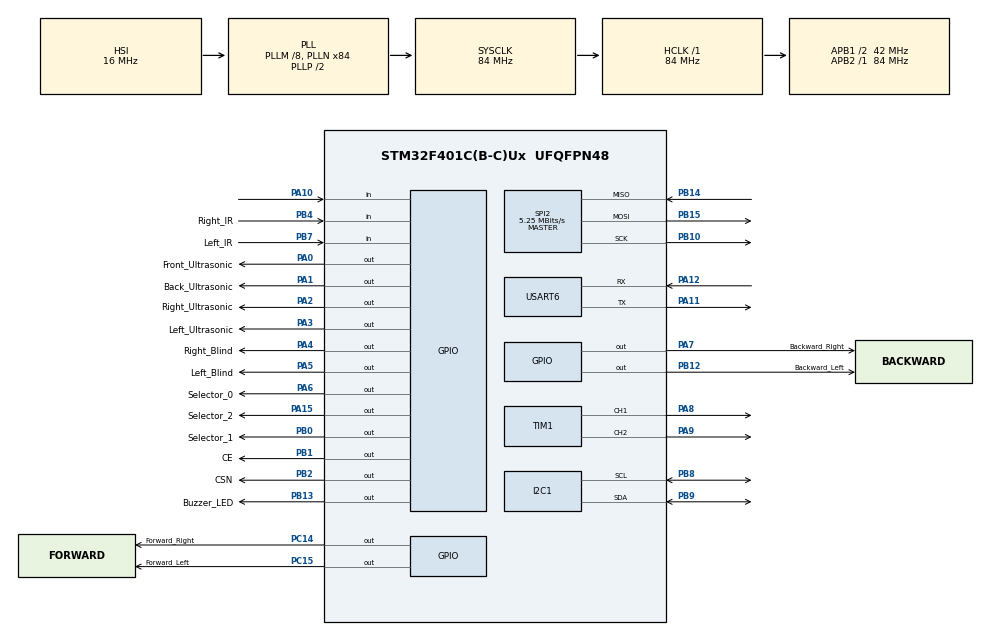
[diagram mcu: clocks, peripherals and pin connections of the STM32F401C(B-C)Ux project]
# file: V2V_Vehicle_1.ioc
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Mcu.Family=STM32F4
Mcu.Name=STM32F401C(B-C)Ux
Mcu.Package=UFQFPN48
NVIC.PriorityGroup=NVIC_PRIORITYGROUP_4
PA0-WKUP.GPIO_Label=Front_Ultrasonic
PA0-WKUP.Signal=GPIO_Output
PA1.GPIO_Label=Back_Ultrasonic
PA1.Signal=GPIO_Output
PA10.Signal=GPIO_Input
PA11.Mode=Asynchronous
PA11.Signal=USART6_TX
PA12.Mode=Asynchronous
PA12.Signal=USART6_RX
PA13.Mode=Serial_Wire
PA13.Signal=SYS_JTMS-SWDIO
PA14.Mode=Serial_Wire
PA14.Signal=SYS_JTCK-SWCLK
PA15.GPIO_Label=Selector_2
PA15.Signal=GPIO_Output
PA2.GPIO_Label=Right_Ultrasonic
PA2.Signal=GPIO_Output
PA3.GPIO_Label=Left_Ultrasonic
PA3.Signal=GPIO_Output
PA4.GPIO_Label=Right_Blind
PA4.Signal=GPIO_Output
PA5.GPIO_Label=Left_Blind
PA5.Signal=GPIO_Output
PA6.GPIO_Label=Selector_0
PA6.Signal=GPIO_Output
PA7.GPIO_Label=Backward_Right
PA7.Signal=GPIO_Output
PA8.Signal=S_TIM1_CH1
PA9.Signal=S_TIM1_CH2
PB0.GPIO_Label=Selector_1
PB0.Signal=GPIO_Output
PB1.GPIO_Label=CE
PB1.Signal=GPIO_Output
PB10.Mode=Full_Duplex_Master
PB10.Signal=SPI2_SCK
PB12.GPIO_Label=Backward_Left
PB12.Signal=GPIO_Output
PB13.GPIO_Label=Buzzer_LED
PB13.Signal=GPIO_Output
PB14.Mode=Full_Duplex_Master
PB14.Signal=SPI2_MISO
PB15.Mode=Full_Duplex_Master
PB15.Signal=SPI2_MOSI
PB2.GPIO_Label=CSN
PB2.Signal=GPIO_Output
PB4.GPIO_Label=Right_IR
PB4.Signal=GPIO_Input
PB7.GPIO_Label=Left_IR
PB7.Signal=GPIO_Input
PB8.Mode=I2C
PB8.Signal=I2C1_SCL
PB9.Mode=I2C
PB9.Signal=I2C1_SDA
PC14-OSC32_IN.GPIO_Label=Forward_Right
PC14-OSC32_IN.Signal=GPIO_Output
PC15-OSC32_OUT.GPIO_Label=Forward_Left
PC15-OSC32_OUT.Signal=GPIO_Output
ProjectManager.HeapSize=0x200
ProjectManager.StackSize=0x400
ProjectManager.TargetToolchain=STM32CubeIDE
RCC.48MHZClocksFreq_Value=42000000
RCC.AHBFreq_Value=84000000
RCC.APB1CLKDivider=RCC_HCLK_DIV2
RCC.APB1Freq_Value=42000000
RCC.APB1TimFreq_Value=84000000
RCC.APB2Freq_Value=84000000
RCC.APB2TimFreq_Value=84000000
RCC.CortexFreq_Value=84000000
RCC.HCLKFreq_Value=84000000
RCC.HSE_VALUE=25000000
RCC.HSI_VALUE=16000000
RCC.LSE_VALUE=32768
RCC.PLLM=8
RCC.PLLN=84
RCC.SYSCLKFreq_VALUE=84000000
RCC.SYSCLKSource=RCC_SYSCLKSOURCE_PLLCLK
RCC.VCOOutputFreq_Value=168000000
SH.S_TIM1_CH1.0=TIM1_CH1,PWM Generation1 CH1
SH.S_TIM1_CH2.0=TIM1_CH2,PWM Generation2 CH2
SPI2.BaudRatePrescaler=SPI_BAUDRATEPRESCALER_8
SPI2.CalculateBaudRate=5.25 MBits/s
SPI2.Direction=SPI_DIRECTION_2LINES
SPI2.Mode=SPI_MODE_MASTER
SPI2.VirtualType=VM_MASTER
TIM1.Channel-PWM\ Generation1\ CH1=TIM_CHANNEL_1
TIM1.Channel-PWM\ Generation2\ CH2=TIM_CHANNEL_2
TIM3.Prescaler=83
USART6.VirtualMode=VM_ASYNC
VP_TIM1_VS_ClockSourceINT.Mode=Internal
VP_TIM3_VS_ClockSourceINT.Mode=Internal
board=custom

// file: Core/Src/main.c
/* USER CODE BEGIN Header */
/**
 ******************************************************************************
 * @file           : main.c
 * @brief          : Main program body
 ******************************************************************************
 * @attention
 *
 * Copyright (c) 2023 STMicroelectronics.
 * All rights reserved.
 *
 * This software is licensed under terms that can be found in the LICENSE file
 * in the root directory of this software component.
 * If no LICENSE file comes with this software, it is provided AS-IS.
 *
 ******************************************************************************
 */
/* USER CODE END Header */
#include "main.h"

/* USER CODE BEGIN Includes */
#include <stdbool.h>
#include "Lane.h"
#include "Motion.h"
#include "Ultrasonic.h"
#include "Parking.h"
#include "NRF24L01.h"
/* USER CODE END Includes */

/* USER CODE BEGIN PTD */
uint8_t Front_Distance = 0;
uint8_t Back_Distance = 0;
uint8_t Right_Distance = 0;
uint8_t Left_Distance = 0;
uint8_t Right_Blind_Distance = 0;
uint8_t Left_Blind_Distance = 0;

bool parking_triggered= false;

int8_t	R1;
int8_t	L1;

uint8_t RxAddess[] = {0x00,0xDD,0xCC,0xBB,0xAA};
uint8_t TxAddess[] = {0xEE,0xDD,0xCC,0xBB,0xAA};
uint8_t Accident[] = "Accident" ;
uint8_t Blind[] = "Blind" ;

uint8_t RxData[32];

volatile int object1detected = 0;
/* USER CODE END PTD */

I2C_HandleTypeDef hi2c1;

SPI_HandleTypeDef hspi2;

TIM_HandleTypeDef htim1;
TIM_HandleTypeDef htim3;

UART_HandleTypeDef huart6;

void SystemClock_Config(void);
static void MX_GPIO_Init(void);
static void MX_TIM1_Init(void);
static void MX_TIM3_Init(void);
static void MX_I2C1_Init(void);
static void MX_SPI2_Init(void);
static void MX_USART6_UART_Init(void);

/* USER CODE BEGIN 0 */
volatile int8_t flag =0;
int8_t flag2 =0;
int8_t front_flag = 0;
int8_t COUNTER =0;
/* USER CODE END 0 */

int main(void)
{

	/* MCU Configuration--------------------------------------------------------*/

	/* Reset of all peripherals, Initializes the Flash interface and the Systick. */
	HAL_Init();

	/* Configure the system clock */
	SystemClock_Config();

	/* Initialize all configured peripherals */
	MX_GPIO_Init();
	MX_TIM1_Init();
	MX_TIM3_Init();
	MX_I2C1_Init();
	MX_SPI2_Init();
	MX_USART6_UART_Init();
	/* USER CODE BEGIN 2 */
	HAL_TIM_PWM_Start(&htim1, TIM_CHANNEL_1);
	HAL_TIM_PWM_Start(&htim1, TIM_CHANNEL_2);
	HAL_TIM_Base_Start(&htim3);

	HAL_GPIO_WritePin(Front_Ultrasonic_GPIO_Port, Front_Ultrasonic_Pin, GPIO_PIN_RESET);	//pull the trig pin low
	HAL_GPIO_WritePin(Back_Ultrasonic_GPIO_Port, Back_Ultrasonic_Pin, GPIO_PIN_RESET);	//pull the trig pin low
	HAL_GPIO_WritePin(Right_Ultrasonic_GPIO_Port, Right_Ultrasonic_Pin, GPIO_PIN_RESET);	//pull the trig pin low
	HAL_GPIO_WritePin(Left_Ultrasonic_GPIO_Port, Left_Ultrasonic_Pin, GPIO_PIN_RESET);	//pull the trig pin low
	HAL_GPIO_WritePin(Right_Blind_GPIO_Port, Right_Blind_Pin, GPIO_PIN_RESET);	//pull the trig pin low
	HAL_GPIO_WritePin(Right_Blind_GPIO_Port, Left_Blind_Pin, GPIO_PIN_RESET);	//pull the trig pin low

	NRF24_Init();
	NRF24_TxMode(TxAddess, 10);

	/* USER CODE END 2 */

	/* Infinite loop */
	/* USER CODE BEGIN WHILE */
	while (1)
	{
		Set_Ultrasonic_View(Front);
		Front_Sensor_Read(&Front_Distance);
		if(Front_Distance > 0)
		{
			front_flag = 1;
		}
		else
		{
			front_flag = 0;
		}

		Set_Ultrasonic_View(Back);
		Back_Sensor_Read(&Back_Distance);

		Set_Ultrasonic_View(Right);
		Right_Sensor_Read(&Right_Distance);

		Set_Ultrasonic_View(Left);
		Left_Sensor_Read(&Left_Distance);

		Set_Ultrasonic_View(Right_Blind);
		Right_Blind_Sensor_Read(&Right_Blind_Distance);

		Set_Ultrasonic_View(Left_Blind);
		Left_Blind_Sensor_Read(&Left_Blind_Distance);

		if(Front_Distance <= 20)
		{
			//ACCIDENT();
			Blocked_Area();
		}
		else if(Right_Blind_Distance <= 40)
		{
			Right_BLIND_MODE();
		}
		else if(Left_Blind_Distance <= 40)
		{
			Left_BLIND_MODE();
		}
		else if(Right_Distance <= 30)
		{
			Parking_Right();
			object1detected = 1;
		}
		else if(Left_Distance < 20)
		{
			Parking_Left();
			object1detected = 1;
		}
		else
		{
			R1 = HAL_GPIO_ReadPin(Right_IR_GPIO_Port, Right_IR_Pin); //Right Sensor
			L1 = HAL_GPIO_ReadPin(Left_IR_GPIO_Port, Left_IR_Pin); //Left Sensor
			Lane_Detection();
		}
		/* USER CODE END WHILE */

	}
}

void SystemClock_Config(void)
{
	RCC_OscInitTypeDef RCC_OscInitStruct = {0};
	RCC_ClkInitTypeDef RCC_ClkInitStruct = {0};

	/** Configure the main internal regulator output voltage
	 */
	__HAL_RCC_PWR_CLK_ENABLE();
	__HAL_PWR_VOLTAGESCALING_CONFIG(PWR_REGULATOR_VOLTAGE_SCALE2);

	/** Initializes the RCC Oscillators according to the specified parameters
	 * in the RCC_OscInitTypeDef structure.
	 */
	RCC_OscInitStruct.OscillatorType = RCC_OSCILLATORTYPE_HSI;
	RCC_OscInitStruct.HSIState = RCC_HSI_ON;
	RCC_OscInitStruct.HSICalibrationValue = RCC_HSICALIBRATION_DEFAULT;
	RCC_OscInitStruct.PLL.PLLState = RCC_PLL_ON;
	RCC_OscInitStruct.PLL.PLLSource = RCC_PLLSOURCE_HSI;
	RCC_OscInitStruct.PLL.PLLM = 8;
	RCC_OscInitStruct.PLL.PLLN = 84;
	RCC_OscInitStruct.PLL.PLLP = RCC_PLLP_DIV2;
	RCC_OscInitStruct.PLL.PLLQ = 4;
	if (HAL_RCC_OscConfig(&RCC_OscInitStruct) != HAL_OK)
	{
		Error_Handler();
	}

	/** Initializes the CPU, AHB and APB buses clocks
	 */
	RCC_ClkInitStruct.ClockType = RCC_CLOCKTYPE_HCLK|RCC_CLOCKTYPE_SYSCLK
			|RCC_CLOCKTYPE_PCLK1|RCC_CLOCKTYPE_PCLK2;
	RCC_ClkInitStruct.SYSCLKSource = RCC_SYSCLKSOURCE_PLLCLK;
	RCC_ClkInitStruct.AHBCLKDivider = RCC_SYSCLK_DIV1;
	RCC_ClkInitStruct.APB1CLKDivider = RCC_HCLK_DIV2;
	RCC_ClkInitStruct.APB2CLKDivider = RCC_HCLK_DIV1;

	if (HAL_RCC_ClockConfig(&RCC_ClkInitStruct, FLASH_LATENCY_2) != HAL_OK)
	{
		Error_Handler();
	}
}

static void MX_I2C1_Init(void)
{

	hi2c1.Instance = I2C1;
	hi2c1.Init.ClockSpeed = 100000;
	hi2c1.Init.DutyCycle = I2C_DUTYCYCLE_2;
	hi2c1.Init.OwnAddress1 = 0;
	hi2c1.Init.AddressingMode = I2C_ADDRESSINGMODE_7BIT;
	hi2c1.Init.DualAddressMode = I2C_DUALADDRESS_DISABLE;
	hi2c1.Init.OwnAddress2 = 0;
	hi2c1.Init.GeneralCallMode = I2C_GENERALCALL_DISABLE;
	hi2c1.Init.NoStretchMode = I2C_NOSTRETCH_DISABLE;
	if (HAL_I2C_Init(&hi2c1) != HAL_OK)
	{
		Error_Handler();
	}

}

static void MX_SPI2_Init(void)
{

	/* SPI2 parameter configuration*/
	hspi2.Instance = SPI2;
	hspi2.Init.Mode = SPI_MODE_MASTER;
	hspi2.Init.Direction = SPI_DIRECTION_2LINES;
	hspi2.Init.DataSize = SPI_DATASIZE_8BIT;
	hspi2.Init.CLKPolarity = SPI_POLARITY_LOW;
	hspi2.Init.CLKPhase = SPI_PHASE_1EDGE;
	hspi2.Init.NSS = SPI_NSS_SOFT;
	hspi2.Init.BaudRatePrescaler = SPI_BAUDRATEPRESCALER_8;
	hspi2.Init.FirstBit = SPI_FIRSTBIT_MSB;
	hspi2.Init.TIMode = SPI_TIMODE_DISABLE;
	hspi2.Init.CRCCalculation = SPI_CRCCALCULATION_DISABLE;
	hspi2.Init.CRCPolynomial = 10;
	if (HAL_SPI_Init(&hspi2) != HAL_OK)
	{
		Error_Handler();
	}

}

static void MX_TIM1_Init(void)
{

	TIM_ClockConfigTypeDef sClockSourceConfig = {0};
	TIM_MasterConfigTypeDef sMasterConfig = {0};
	TIM_OC_InitTypeDef sConfigOC = {0};
	TIM_BreakDeadTimeConfigTypeDef sBreakDeadTimeConfig = {0};

	htim1.Instance = TIM1;
	htim1.Init.Prescaler = 0;
	htim1.Init.CounterMode = TIM_COUNTERMODE_UP;
	htim1.Init.Period = 65535;
	htim1.Init.ClockDivision = TIM_CLOCKDIVISION_DIV1;
	htim1.Init.RepetitionCounter = 0;
	htim1.Init.AutoReloadPreload = TIM_AUTORELOAD_PRELOAD_DISABLE;
	if (HAL_TIM_Base_Init(&htim1) != HAL_OK)
	{
		Error_Handler();
	}
	sClockSourceConfig.ClockSource = TIM_CLOCKSOURCE_INTERNAL;
	if (HAL_TIM_ConfigClockSource(&htim1, &sClockSourceConfig) != HAL_OK)
	{
		Error_Handler();
	}
	if (HAL_TIM_PWM_Init(&htim1) != HAL_OK)
	{
		Error_Handler();
	}
	sMasterConfig.MasterOutputTrigger = TIM_TRGO_RESET;
	sMasterConfig.MasterSlaveMode = TIM_MASTERSLAVEMODE_DISABLE;
	if (HAL_TIMEx_MasterConfigSynchronization(&htim1, &sMasterConfig) != HAL_OK)
	{
		Error_Handler();
	}
	sConfigOC.OCMode = TIM_OCMODE_PWM1;
	sConfigOC.Pulse = 0;
	sConfigOC.OCPolarity = TIM_OCPOLARITY_HIGH;
	sConfigOC.OCNPolarity = TIM_OCNPOLARITY_HIGH;
	sConfigOC.OCFastMode = TIM_OCFAST_DISABLE;
	sConfigOC.OCIdleState = TIM_OCIDLESTATE_RESET;
	sConfigOC.OCNIdleState = TIM_OCNIDLESTATE_RESET;
	if (HAL_TIM_PWM_ConfigChannel(&htim1, &sConfigOC, TIM_CHANNEL_1) != HAL_OK)
	{
		Error_Handler();
	}
	if (HAL_TIM_PWM_ConfigChannel(&htim1, &sConfigOC, TIM_CHANNEL_2) != HAL_OK)
	{
		Error_Handler();
	}
	sBreakDeadTimeConfig.OffStateRunMode = TIM_OSSR_DISABLE;
	sBreakDeadTimeConfig.OffStateIDLEMode = TIM_OSSI_DISABLE;
	sBreakDeadTimeConfig.LockLevel = TIM_LOCKLEVEL_OFF;
	sBreakDeadTimeConfig.DeadTime = 0;
	sBreakDeadTimeConfig.BreakState = TIM_BREAK_DISABLE;
	sBreakDeadTimeConfig.BreakPolarity = TIM_BREAKPOLARITY_HIGH;
	sBreakDeadTimeConfig.AutomaticOutput = TIM_AUTOMATICOUTPUT_DISABLE;
	if (HAL_TIMEx_ConfigBreakDeadTime(&htim1, &sBreakDeadTimeConfig) != HAL_OK)
	{
		Error_Handler();
	}
	HAL_TIM_MspPostInit(&htim1);

}

static void MX_TIM3_Init(void)
{

	TIM_ClockConfigTypeDef sClockSourceConfig = {0};
	TIM_MasterConfigTypeDef sMasterConfig = {0};

	htim3.Instance = TIM3;
	htim3.Init.Prescaler = 83;
	htim3.Init.CounterMode = TIM_COUNTERMODE_UP;
	htim3.Init.Period = 65535;
	htim3.Init.ClockDivision = TIM_CLOCKDIVISION_DIV1;
	htim3.Init.AutoReloadPreload = TIM_AUTORELOAD_PRELOAD_DISABLE;
	if (HAL_TIM_Base_Init(&htim3) != HAL_OK)
	{
		Error_Handler();
	}
	sClockSourceConfig.ClockSource = TIM_CLOCKSOURCE_INTERNAL;
	if (HAL_TIM_ConfigClockSource(&htim3, &sClockSourceConfig) != HAL_OK)
	{
		Error_Handler();
	}
	sMasterConfig.MasterOutputTrigger = TIM_TRGO_RESET;
	sMasterConfig.MasterSlaveMode = TIM_MASTERSLAVEMODE_DISABLE;
	if (HAL_TIMEx_MasterConfigSynchronization(&htim3, &sMasterConfig) != HAL_OK)
	{
		Error_Handler();
	}

}

static void MX_USART6_UART_Init(void)
{

	huart6.Instance = USART6;
	huart6.Init.BaudRate = 115200;
	huart6.Init.WordLength = UART_WORDLENGTH_8B;
	huart6.Init.StopBits = UART_STOPBITS_1;
	huart6.Init.Parity = UART_PARITY_NONE;
	huart6.Init.Mode = UART_MODE_TX_RX;
	huart6.Init.HwFlowCtl = UART_HWCONTROL_NONE;
	huart6.Init.OverSampling = UART_OVERSAMPLING_16;
	if (HAL_UART_Init(&huart6) != HAL_OK)
	{
		Error_Handler();
	}

}

static void MX_GPIO_Init(void)
{
	GPIO_InitTypeDef GPIO_InitStruct = {0};

	/* GPIO Ports Clock Enable */
	__HAL_RCC_GPIOC_CLK_ENABLE();
	__HAL_RCC_GPIOA_CLK_ENABLE();
	__HAL_RCC_GPIOB_CLK_ENABLE();

	/*Configure GPIO pin Output Level */
	HAL_GPIO_WritePin(GPIOC, Forward_Right_Pin|Forward_Left_Pin, GPIO_PIN_RESET);

	/*Configure GPIO pin Output Level */
	HAL_GPIO_WritePin(GPIOA, Front_Ultrasonic_Pin|Back_Ultrasonic_Pin|Right_Ultrasonic_Pin|Left_Ultrasonic_Pin
			|Right_Blind_Pin|Left_Blind_Pin|Selector_0_Pin|Backward_Right_Pin
			|Selector_2_Pin, GPIO_PIN_RESET);

	/*Configure GPIO pin Output Level */
	HAL_GPIO_WritePin(GPIOB, Selector_1_Pin|CE_Pin|CSN_Pin|Backward_Left_Pin
			|Buzzer_LED_Pin, GPIO_PIN_RESET);

	/*Configure GPIO pins : Forward_Right_Pin Forward_Left_Pin */
	GPIO_InitStruct.Pin = Forward_Right_Pin|Forward_Left_Pin;
	GPIO_InitStruct.Mode = GPIO_MODE_OUTPUT_PP;
	GPIO_InitStruct.Pull = GPIO_NOPULL;
	GPIO_InitStruct.Speed = GPIO_SPEED_FREQ_LOW;
	HAL_GPIO_Init(GPIOC, &GPIO_InitStruct);

	/*Configure GPIO pins : Front_Ultrasonic_Pin Back_Ultrasonic_Pin Right_Ultrasonic_Pin Left_Ultrasonic_Pin
                           Right_Blind_Pin Left_Blind_Pin Selector_0_Pin Backward_Right_Pin
                           Selector_2_Pin */
	GPIO_InitStruct.Pin = Front_Ultrasonic_Pin|Back_Ultrasonic_Pin|Right_Ultrasonic_Pin|Left_Ultrasonic_Pin
			|Right_Blind_Pin|Left_Blind_Pin|Selector_0_Pin|Backward_Right_Pin
			|Selector_2_Pin;
	GPIO_InitStruct.Mode = GPIO_MODE_OUTPUT_PP;
	GPIO_InitStruct.Pull = GPIO_NOPULL;
	GPIO_InitStruct.Speed = GPIO_SPEED_FREQ_LOW;
	HAL_GPIO_Init(GPIOA, &GPIO_InitStruct);

	/*Configure GPIO pins : Selector_1_Pin CE_Pin CSN_Pin Backward_Left_Pin
                           Buzzer_LED_Pin */
	GPIO_InitStruct.Pin = Selector_1_Pin|CE_Pin|CSN_Pin|Backward_Left_Pin
			|Buzzer_LED_Pin;
	GPIO_InitStruct.Mode = GPIO_MODE_OUTPUT_PP;
	GPIO_InitStruct.Pull = GPIO_NOPULL;
	GPIO_InitStruct.Speed = GPIO_SPEED_FREQ_LOW;
	HAL_GPIO_Init(GPIOB, &GPIO_InitStruct);

	/*Configure GPIO pin : PA10 */
	GPIO_InitStruct.Pin = GPIO_PIN_10;
	GPIO_InitStruct.Mode = GPIO_MODE_INPUT;
	GPIO_InitStruct.Pull = GPIO_NOPULL;
	HAL_GPIO_Init(GPIOA, &GPIO_InitStruct);

	/*Configure GPIO pins : Right_IR_Pin Left_IR_Pin */
	GPIO_InitStruct.Pin = Right_IR_Pin|Left_IR_Pin;
	GPIO_InitStruct.Mode = GPIO_MODE_INPUT;
	GPIO_InitStruct.Pull = GPIO_NOPULL;
	HAL_GPIO_Init(GPIOB, &GPIO_InitStruct);

}

void Error_Handler(void)
{
	__disable_irq();
	while (1)
	{
	}
}
